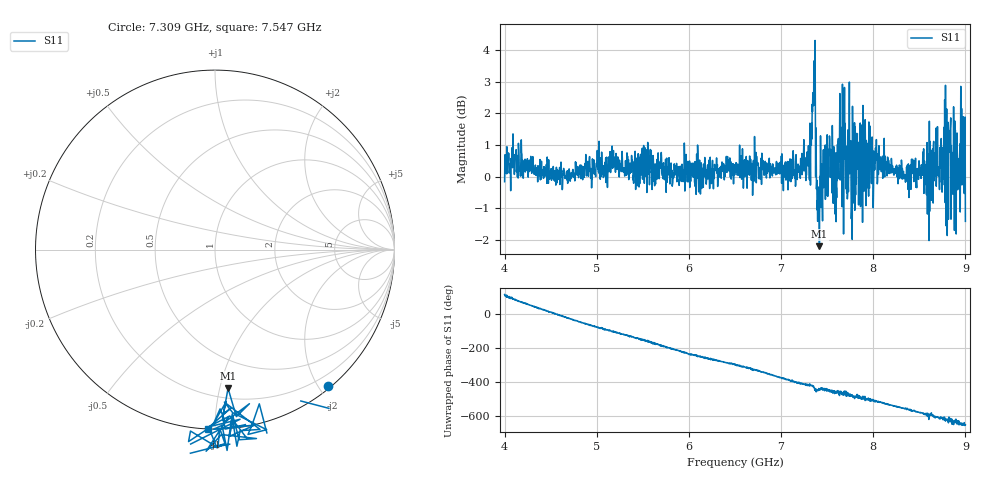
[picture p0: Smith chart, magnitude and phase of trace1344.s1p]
! Created with skrf 1.8.0 (http://scikit-rf.org).
# Hz S RI R 50.0
!freq ReS11 ImS11
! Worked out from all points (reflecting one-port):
!   1601 points, 4 GHz to 9 GHz, reference 50 ohm
!   lowest |S11| = -2.2 dB at 7.416 GHz (marker M1), VSWR 7.94, Z = 13.6 - j53 ohm
!   phase of S11 starts at 116 deg and turns -768 deg over the sweep
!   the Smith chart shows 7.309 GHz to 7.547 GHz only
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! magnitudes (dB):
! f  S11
! 4 GHz  -0.2
! 4.1 GHz  0.3
! 4.625 GHz  -0.4
! 5.25 GHz  0.2
! 5.875 GHz  0.0
! 6.5 GHz  0.3
! 7.125 GHz  0.5
! 7.294 GHz  0.7
! 7.328 GHz  1.0
! 7.347 GHz  2.7
! 7.366 GHz  2.3
! 7.4 GHz  -0.3
! 7.416 GHz  -2.2
! 7.512 GHz  0.9
! 7.591 GHz  0.5
! 7.672 GHz  2.3
! 7.75 GHz  0.1
! 7.784 GHz  0.2
! 7.8 GHz  -1.1
! 7.891 GHz  0.7
! 8.375 GHz  0.0
! 8.522 GHz  0.4
! 8.581 GHz  -0.2
! 8.656 GHz  1.1
! 8.819 GHz  0.7
! 8.919 GHz  -0.4
! 8.972 GHz  0.8
! 9 GHz  -1.4
